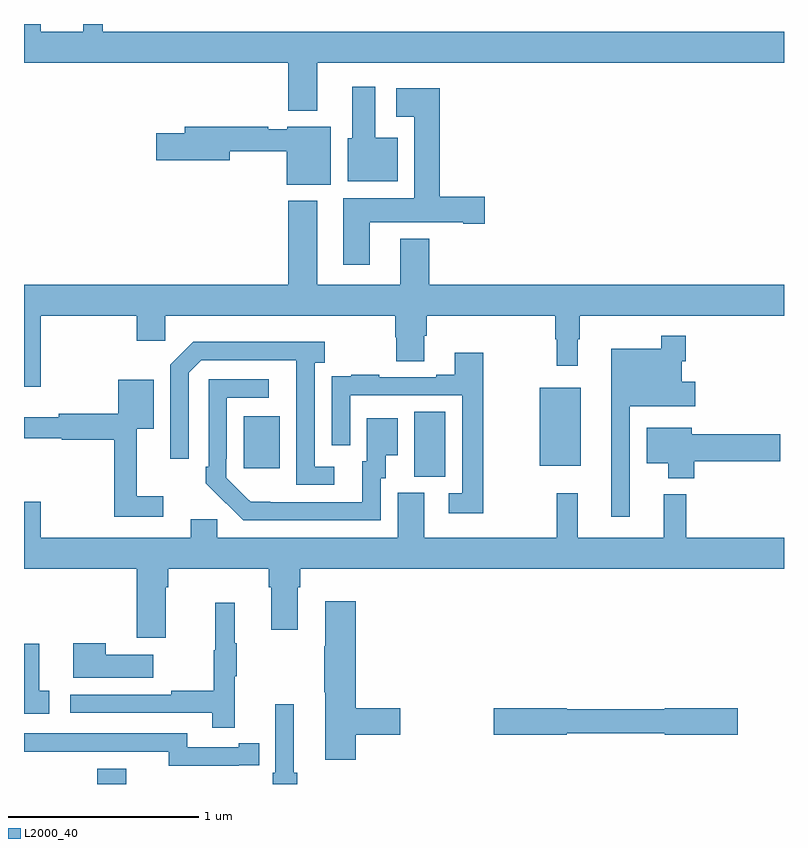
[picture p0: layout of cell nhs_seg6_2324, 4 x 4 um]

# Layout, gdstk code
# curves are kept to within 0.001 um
import gdstk
lib = gdstk.Library(unit=1e-6, precision=1e-09)
def R(c, l, rs):  # rectangles x0, y0, x1, y1
    for r in rs: c.add(gdstk.rectangle(r[:2], r[2:], *l))
def P(c, l, *ps):  # polygons
    for p in ps: c.add(gdstk.Polygon(p, *l))
L2000_40 = (2000, 40)

nhs_seg6_2324 = lib.new_cell('nhs_seg6_2324')
R(nhs_seg6_2324, L2000_40, [(249.386,983.5,249.538,983.581), (251.054,985.117,251.218,985.46), (250.157,985.161,250.345,985.435), (251.714,985.175,251.929,985.585)])
P(nhs_seg6_2324, L2000_40, [(250.543,987.296),(253,987.296),(253,987.46),(249.415,987.46),(249.415,987.5),(249.311,987.5),(249.311,987.46),(249.088,987.46),(249.088,987.5),(249,987.5),(249,987.296),(250.391,987.296),(250.391,987.044),(250.543,987.044)],
  [(250.966,986.902),(250.849,986.902),(250.849,987.169),(250.727,987.169),(250.727,986.898),(250.703,986.898),(250.703,986.672),(250.966,986.672)],
  [(250.819,986.456),(251.312,986.456),(251.312,986.449),(251.425,986.449),(251.425,986.591),(251.189,986.591),(251.189,987.163),(250.959,987.163),(250.959,987.011),(251.054,987.011),(251.054,986.584),(250.679,986.584),(250.679,986.232),(250.819,986.232)],
  [(250.615,986.959),(250.386,986.959),(250.386,986.946),(250.286,986.946),(250.286,986.959),(249.845,986.959),(249.845,986.925),(249.696,986.925),(249.696,986.783),(250.084,986.783),(250.084,986.83),(250.382,986.83),(250.382,986.654),(250.615,986.654)],
  [(249.088,985.964),(249.593,985.964),(249.593,985.833),(249.744,985.833),(249.744,985.964),(250.955,985.964),(250.955,985.851),(250.96,985.851),(250.96,985.726),(251.107,985.726),(251.107,985.858),(251.12,985.858),(251.12,985.964),(251.797,985.964),(251.797,985.841),(251.805,985.841),(251.805,985.701),(251.914,985.701),(251.914,985.841),(251.926,985.841),(251.926,985.964),(253,985.964),(253,986.128),(251.132,986.128),(251.132,986.371),(250.979,986.371),(250.979,986.128),(250.543,986.128),(250.543,986.569),(250.391,986.569),(250.391,986.128),(249,986.128),(249,985.59),(249.088,985.59)],
  [(252.189,985.487),(252.532,985.487),(252.532,985.617),(252.463,985.617),(252.463,985.725),(252.482,985.725),(252.482,985.858),(252.354,985.858),(252.354,985.792),(252.092,985.792),(252.092,984.906),(252.189,984.906)],
  [(250.633,985.17),(250.53,985.17),(250.53,985.718),(250.582,985.718),(250.582,985.828),(249.892,985.828),(249.771,985.707),(249.771,985.212),(249.867,985.212),(249.867,985.665),(249.933,985.731),(250.433,985.731),(250.434,985.074),(250.633,985.074)],
  [(251.416,985.771),(251.267,985.771),(251.267,985.654),(251.171,985.654),(251.171,985.641),(250.871,985.641),(250.871,985.654),(250.723,985.654),(250.723,985.647),(250.621,985.647),(250.621,985.538),(250.62,985.538),(250.62,985.284),(250.716,985.284),(250.716,985.545),(251.307,985.545),(251.307,985.029),(251.235,985.029),(251.235,984.924),(251.416,984.924)],
  [(250.878,985.11),(250.903,985.11),(250.903,985.229),(250.966,985.229),(250.966,985.426),(250.805,985.426),(250.805,985.2),(250.781,985.2),(250.781,984.984),(250.194,984.985),(250.065,985.113),(250.065,985.213),(250.068,985.213),(250.068,985.533),(250.288,985.533),(250.288,985.629),(249.972,985.629),(249.972,985.171),(249.957,985.171),(249.957,985.083),(250.154,984.888),(250.878,984.888)],
  [(249.733,985.015),(249.593,985.015),(249.593,985.37),(249.682,985.37),(249.682,985.627),(249.495,985.627),(249.495,985.448),(249.184,985.448),(249.184,985.429),(249,985.429),(249,985.32),(249.198,985.32),(249.198,985.312),(249.475,985.312),(249.475,984.906),(249.733,984.906)],
  [(252.527,985.198),(252.979,985.198),(252.979,985.34),(252.514,985.34),(252.514,985.375),(252.278,985.375),(252.278,985.187),(252.392,985.187),(252.392,985.109),(252.527,985.109)],
  [(249.745,984.536),(249.758,984.536),(249.758,984.632),(250.289,984.632),(250.289,984.536),(250.301,984.536),(250.301,984.312),(250.441,984.312),(250.441,984.536),(250.454,984.536),(250.454,984.632),(253,984.632),(253,984.796),(252.485,984.796),(252.485,985.024),(252.368,985.024),(252.368,984.796),(251.915,984.796),(251.915,985.03),(251.805,985.03),(251.805,984.796),(251.107,984.796),(251.107,985.032),(250.967,985.032),(250.967,984.796),(250.017,984.796),(250.017,984.894),(249.878,984.894),(249.878,984.796),(249.088,984.796),(249.088,984.985),(249,984.985),(249,984.632),(249.593,984.632),(249.593,984.27),(249.745,984.27)],
  [(250.745,983.758),(250.981,983.758),(250.981,983.9),(250.745,983.9),(250.745,984.463),(250.586,984.463),(250.586,984.224),(250.579,984.224),(250.579,983.983),(250.586,983.983),(250.586,983.628),(250.745,983.628)],
  [(250.109,984.067),(250.12,984.067),(250.12,984.241),(250.109,984.241),(250.109,984.454),(250.006,984.454),(250.006,984.204),(249.999,984.204),(249.999,983.99),(249.775,983.99),(249.775,983.97),(249.243,983.97),(249.243,983.874),(249.991,983.874),(249.991,983.796),(250.109,983.796)],
  [(249.679,984.181),(249.431,984.181),(249.431,984.241),(249.26,984.241),(249.26,984.059),(249.679,984.059)],
  [(249.133,983.991),(249.08,983.991),(249.08,984.238),(249,984.238),(249,983.871),(249.133,983.871)],
  [(250.439,983.56),(250.42,983.56),(250.42,983.92),(250.323,983.92),(250.323,983.56),(250.31,983.56),(250.31,983.5),(250.439,983.5)],
  [(251.856,983.766),(252.372,983.766),(252.372,983.758),(252.757,983.758),(252.757,983.9),(252.372,983.9),(252.372,983.894),(251.856,983.894),(251.856,983.9),(251.472,983.9),(251.472,983.758),(251.856,983.758)],
  [(250.13,983.598),(250.238,983.598),(250.238,983.714),(250.13,983.714),(250.13,983.694),(249.858,983.694),(249.858,983.766),(249,983.766),(249,983.669),(249.302,983.669),(249.302,983.67),(249.762,983.67),(249.762,983.597),(250.13,983.597)])

lib.write_gds('nhs_seg6_2324.gds')
